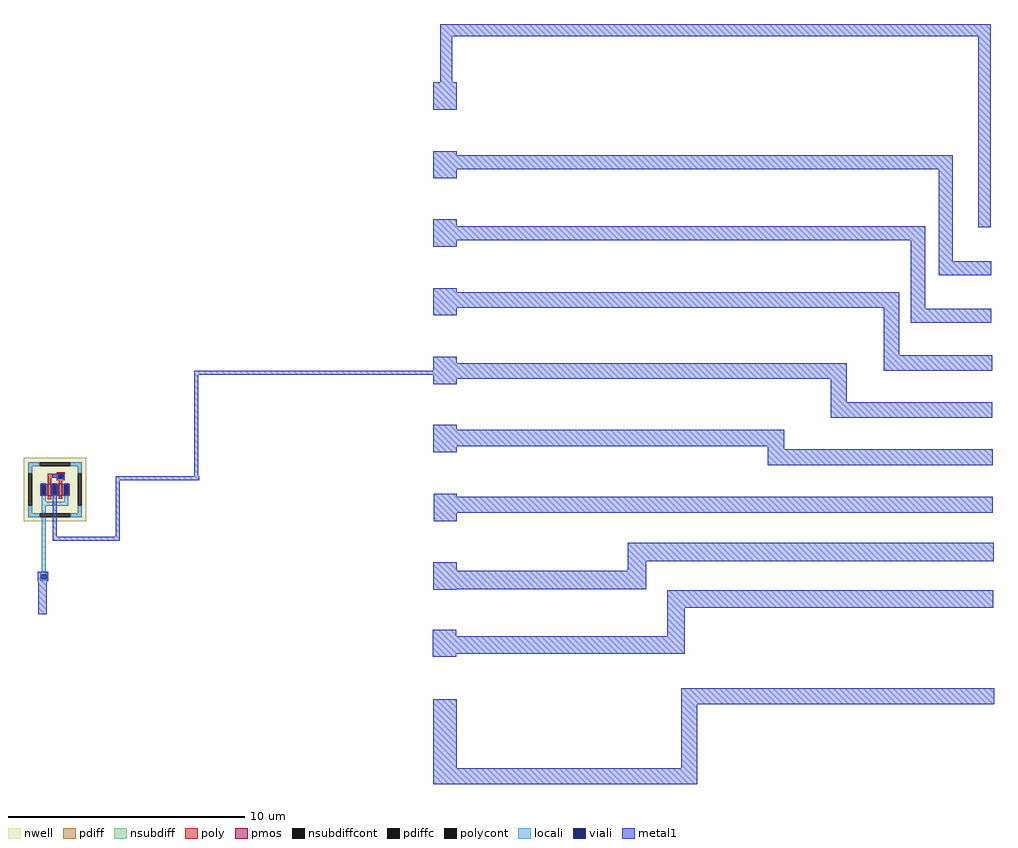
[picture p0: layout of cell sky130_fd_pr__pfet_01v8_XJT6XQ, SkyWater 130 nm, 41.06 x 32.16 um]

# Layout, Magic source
magic
tech sky130A
magscale 1 2
<< nwell >>
rect -209 -121 317 417
<< pmos >>
rect -9 98 21 198
rect 87 98 117 198
<< pdiff >>
rect -71 186 -9 198
rect -71 110 -59 186
rect -25 110 -9 186
rect -71 98 -9 110
rect 21 186 87 198
rect 21 110 37 186
rect 71 110 87 186
rect 21 98 87 110
rect 117 186 179 198
rect 117 110 133 186
rect 167 110 179 186
rect 117 98 179 110
<< pdiffc >>
rect -59 110 -25 186
rect 37 110 71 186
rect 133 110 167 186
<< nsubdiff >>
rect -173 347 -77 381
rect 185 347 281 381
rect -173 285 -139 347
rect 247 285 281 347
rect -173 -51 -139 11
rect 247 -51 281 11
rect -173 -85 -77 -51
rect 185 -85 281 -51
<< nsubdiffcont >>
rect -77 347 185 381
rect -173 11 -139 285
rect 247 11 281 285
rect -77 -85 185 -51
<< poly >>
rect 69 280 135 295
rect -9 279 135 280
rect -9 249 85 279
rect -9 198 21 249
rect 69 245 85 249
rect 119 245 135 279
rect 69 229 135 245
rect 87 198 117 229
rect -9 67 21 98
rect 87 72 117 98
<< polycont >>
rect 85 245 119 279
<< locali >>
rect -173 347 -77 381
rect 185 347 281 381
rect -173 285 -139 347
rect 247 285 281 347
rect 69 245 85 279
rect 119 245 135 279
rect -173 -51 -139 11
rect -59 186 -25 202
rect -59 44 -25 110
rect 37 186 71 202
rect 37 94 71 110
rect 133 186 167 202
rect 133 44 167 110
rect -59 10 167 44
rect -59 -51 -25 10
rect 247 -51 281 11
rect -173 -85 -77 -51
rect 185 -85 281 -51
rect -59 -553 -25 -85
rect -71 -573 -7 -553
rect -71 -608 -58 -573
rect -20 -608 -7 -573
rect -71 -625 -7 -608
<< viali >>
rect 85 245 119 279
rect -59 110 -25 186
rect 37 110 71 186
rect 133 110 167 186
rect -58 -608 -20 -573
<< metal1 >>
rect 3314 3986 7973 4089
rect 3314 3595 3417 3986
rect 3257 3363 3455 3595
rect 3256 2977 3454 3014
rect 3256 2858 7655 2977
rect 3256 2782 3454 2858
rect 3255 2378 3453 2435
rect 3255 2258 7419 2378
rect 3255 2203 3453 2258
rect 3256 1817 3454 1854
rect 3256 1687 7200 1817
rect 3256 1622 3454 1687
rect 7070 1285 7200 1687
rect 7299 1680 7419 2258
rect 7536 2080 7655 2858
rect 7870 2369 7973 3986
rect 7536 1961 7981 2080
rect 7299 1560 7981 1680
rect 3255 1217 3453 1273
rect 3255 1156 6754 1217
rect 1231 1122 6754 1156
rect 7070 1155 7986 1285
rect 73 279 131 285
rect 31 248 85 279
rect 69 245 85 248
rect 119 245 131 279
rect 1231 261 1265 1122
rect 3255 1085 6754 1122
rect 3255 1041 3453 1085
rect 6622 886 6754 1085
rect 6622 754 7987 886
rect 3255 653 3453 695
rect 3255 516 6226 653
rect 3255 463 3453 516
rect 6089 489 6226 516
rect 6089 352 7990 489
rect 73 239 131 245
rect 569 227 1274 261
rect -65 186 -19 198
rect -65 110 -59 186
rect -25 110 -19 186
rect -65 98 -19 110
rect 31 186 77 198
rect 31 110 37 186
rect 71 110 77 186
rect 31 98 77 110
rect 127 186 173 198
rect 127 110 133 186
rect 167 110 173 186
rect 127 98 173 110
rect 37 -251 71 98
rect 569 -251 603 227
rect 3258 89 3456 113
rect 3258 -48 7990 89
rect 3258 -119 3456 -48
rect 37 -285 603 -251
rect 4901 -458 7999 -302
rect 3257 -538 3455 -466
rect 4901 -538 5057 -458
rect -90 -573 -1 -547
rect -90 -608 -58 -573
rect -20 -608 -1 -573
rect -90 -627 -1 -608
rect -89 -906 -16 -627
rect 3257 -694 5057 -538
rect 3257 -698 3455 -694
rect 5235 -854 7995 -706
rect 3253 -1094 3451 -1037
rect 5235 -1094 5383 -854
rect 3253 -1242 5383 -1094
rect 3253 -1269 3451 -1242
rect 3255 -2209 3453 -1628
rect 5357 -1668 8003 -1533
rect 5357 -2209 5492 -1668
rect 3255 -2344 5492 -2209
<< properties >>
string FIXED_BBOX -210 -216 210 216
string gencell sky130_fd_pr__pfet_01v8
string library sky130
string parameters w 0.5 l 0.15 m 1 nf 2 diffcov 100 polycov 100 guard 1 glc 1 grc 1 gtc 1 gbc 1 tbcov 100 rlcov 100 topc 1 botc 1 poverlap 0 doverlap 1 lmin 0.15 wmin 0.42 compatible {sky130_fd_pr__pfet_01v8  sky130_fd_pr__pfet_01v8_lvt sky130_fd_pr__pfet_01v8_hvt  sky130_fd_pr__pfet_g5v0d10v5} full_metal 1 viasrc 100 viadrn 100 viagate 100 viagb 0 viagr 0 viagl 0 viagt 0
<< end >>
